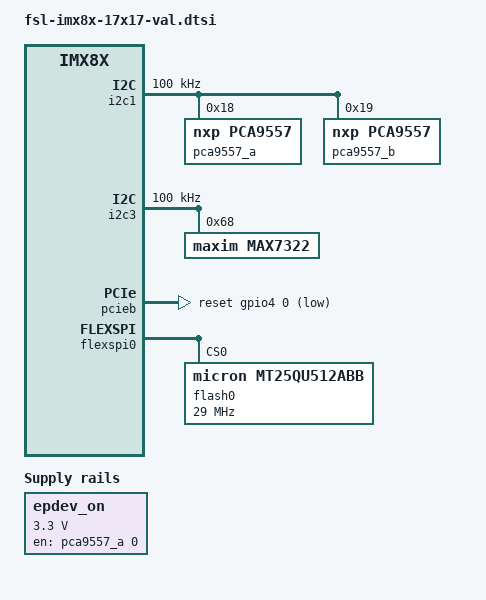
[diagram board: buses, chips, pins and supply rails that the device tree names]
// SPDX-License-Identifier: GPL-2.0+
/*
 * Copyright 2019 NXP
 *
 * This program is free software; you can redistribute it and/or
 * modify it under the terms of the GNU General Public License
 * as published by the Free Software Foundation; either version 2
 * of the License, or (at your option) any later version.
 *
 * This program is distributed in the hope that it will be useful,
 * but WITHOUT ANY WARRANTY; without even the implied warranty of
 * MERCHANTABILITY or FITNESS FOR A PARTICULAR PURPOSE.  See the
 * GNU General Public License for more details.
 */

#include "fsl-imx8x-arm2.dtsi"

/ {
	reserved-memory {
		linux,cma {
			compatible = "shared-dma-pool";
			reusable;
			size = <0 0x14000000>;
			alloc-ranges = <0 0x96000000 0 0x14000000>;
			linux,cma-default;
		};
	};

	regulators {
		epdev_on: fixedregulator@100 {
			compatible = "regulator-fixed";
			regulator-min-microvolt = <3300000>;
			regulator-max-microvolt = <3300000>;
			regulator-name = "epdev_on";
			gpio = <&pca9557_a 0 GPIO_ACTIVE_HIGH>;
			enable-active-high;
		};
	};
};

&iomuxc {
	imx8qxp-lpddr4-arm2 {
		pinctrl_flexspi0: flexspi0grp {
			fsl,pins = <
				SC_P_QSPI0A_DATA0_LSIO_QSPI0A_DATA0	0x06000021
				SC_P_QSPI0A_DATA1_LSIO_QSPI0A_DATA1	0x06000021
				SC_P_QSPI0A_DATA2_LSIO_QSPI0A_DATA2	0x06000021
				SC_P_QSPI0A_DATA3_LSIO_QSPI0A_DATA3	0x06000021
				SC_P_QSPI0A_SS0_B_LSIO_QSPI0A_SS0_B	0x06000021
				SC_P_QSPI0A_SCLK_LSIO_QSPI0A_SCLK	0x06000021
			>;
		};
	};
};

&i2c1 {
	#address-cells = <1>;
	#size-cells = <0>;
	clock-frequency = <100000>;
	pinctrl-names = "default";
	pinctrl-0 = <&pinctrl_lpi2c1>;
	status = "okay";

	/delete-node/ gpio@68;
	/delete-node/ typec@3d;

	pca9557_a: gpio@18 {
		compatible = "nxp,pca9557";
		reg = <0x18>;
		gpio-controller;
		#gpio-cells = <2>;
	};

	pca9557_b: gpio@19 {
		compatible = "nxp,pca9557";
		reg = <0x19>;
		gpio-controller;
		#gpio-cells = <2>;
	};
};

&i2c2 {
	status = "disabled";
};

&i2c3 {
	#address-cells = <1>;
	#size-cells = <0>;
	clock-frequency = <100000>;
	pinctrl-names = "default";
	pinctrl-0 = <&pinctrl_lpi2c3>;
	status = "okay";

	/delete-node/ gpio@18;
	/delete-node/ gpio@19;

	max7322: gpio@68 {
		compatible = "maxim,max7322";
		reg = <0x68>;
		gpio-controller;
		#gpio-cells = <2>;
	};
};

&i2c0_csi0 {
	status = "disabled";
};

&mipi_csi_0 {
	status = "disabled";
};

&gpio0_mipi_csi0 {
	status = "disabled";
};

&pcieb{
	ext_osc = <1>;
	pinctrl-names = "default";
	pinctrl-0 = <&pinctrl_pcieb>;
	clkreq-gpio = <&gpio4 1 GPIO_ACTIVE_LOW>;
	disable-gpio = <&pca9557_a 5 GPIO_ACTIVE_LOW>;
	reset-gpio = <&gpio4 0 GPIO_ACTIVE_LOW>;
	epdev_on-supply = <&epdev_on>;
	status = "okay";
};

&usdhc2 {
	status = "disabled";
};

&flexspi0 {
	pinctrl-names = "default";
	pinctrl-0 = <&pinctrl_flexspi0>;
	status = "okay";

	/delete-node/ mt35xu512aba@0;

	flash0: mt25qu512abb@0 {
		reg = <0>;
		#address-cells = <1>;
		#size-cells = <1>;
		compatible = "micron,mt25qu512abb";
		spi-max-frequency = <29000000>;
	};
};

&adc0 {
	status = "disabled";
};

&usbotg1 {
	/delete-property/ pinctrl-names;
	/delete-property/ pinctrl-0;
};
